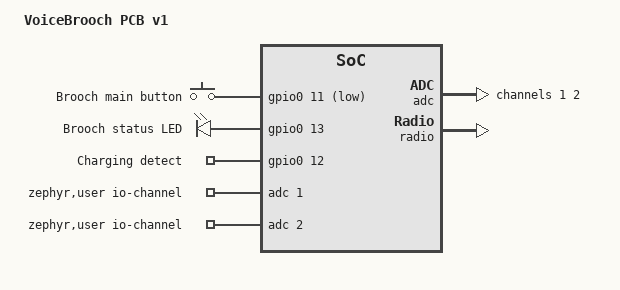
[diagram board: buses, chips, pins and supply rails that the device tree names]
/*
 * Voice Brooch custom PCB — nRF52840
 *
 * Pin map (brooch PCB v1):
 *   P0.11  Main button (active low, pull-up)
 *   P0.13  Status LED (active high)
 *   P0.12  Charging detect (high = charging)
 *   P0.03  MEMS mic analog (SAADC AIN1)
 *   P0.04  Battery sense (SAADC AIN2, via divider)
 *
 * Usage:
 *   west build -b nrf52840dk_nrf52840 -- -DOVERLAY_CONFIG=boards/voice_brooch.overlay
 *   pio run -e nrf52840_brooch
 */

/ {
    model = "VoiceBrooch PCB v1";
    compatible = "voicebrooch,pcb-v1";

    chosen {
        zephyr,console = &uart0;
        zephyr,shell-uart = &uart0;
    };

    aliases {
        sw0 = &brooch_button;
        led0 = &brooch_led;
        charge0 = &charge_input;
    };

    buttons {
        compatible = "gpio-keys";
        brooch_button: brooch_button {
            gpios = <&gpio0 11 (GPIO_ACTIVE_LOW | GPIO_PULL_UP)>;
            label = "Brooch main button";
            zephyr,code = <INPUT_KEY_0>;
        };
    };

    leds {
        compatible = "gpio-leds";
        brooch_led: brooch_led {
            gpios = <&gpio0 13 GPIO_ACTIVE_HIGH>;
            label = "Brooch status LED";
        };
    };

    brooch_charge: brooch_charge {
        compatible = "gpio-keys";
        charge_input: charge_input {
            gpios = <&gpio0 12 (GPIO_ACTIVE_HIGH | GPIO_PULL_UP)>;
            label = "Charging detect";
        };
    };

    /* ADC channel indices for board_nrf52.c */
    zephyr,user {
        io-channels = <&adc 1>, <&adc 2>;
    };
};

&adc {
    status = "okay";
    #address-cells = <1>;
    #size-cells = <0>;

    channel@1 {
        reg = <1>;
        zephyr,gain = "ADC_GAIN_1_6";
        zephyr,reference = "ADC_REF_INTERNAL";
        zephyr,acquisition-time = <ADC_ACQ_TIME_DEFAULT>;
        zephyr,input-positive = <NRF_SAADC_AIN1>;
        zephyr,resolution = <12>;
        label = "MIC_ADC";
    };

    channel@2 {
        reg = <2>;
        zephyr,gain = "ADC_GAIN_1_6";
        zephyr,reference = "ADC_REF_INTERNAL";
        zephyr,acquisition-time = <ADC_ACQ_TIME_DEFAULT>;
        zephyr,input-positive = <NRF_SAADC_AIN2>;
        zephyr,resolution = <12>;
        label = "BATT_ADC";
    };
};

/* Lower TX power for wearable */
&radio {
    tx-power-level = "0";
};
